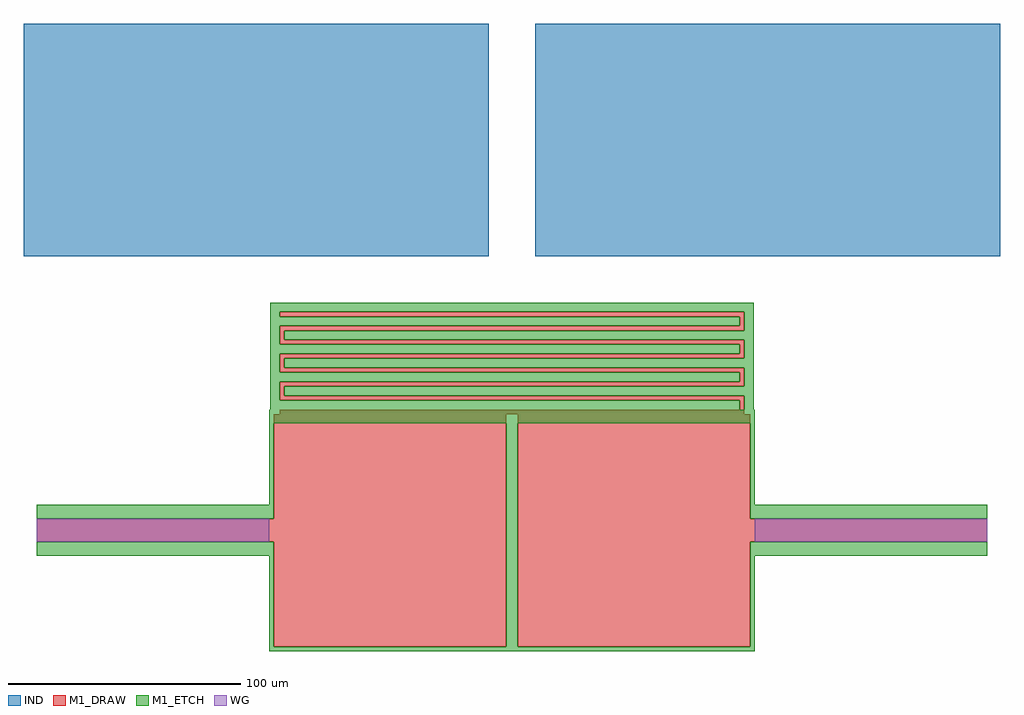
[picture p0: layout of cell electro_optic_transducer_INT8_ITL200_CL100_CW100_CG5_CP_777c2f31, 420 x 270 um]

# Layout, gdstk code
from math import pi, radians
import gdstk
lib = gdstk.Library(unit=1e-6, precision=1e-09)
def R(c, l, rs):  # rectangles x0, y0, x1, y1
    for r in rs: c.add(gdstk.rectangle(r[:2], r[2:], *l))
def P(c, l, *ps):  # polygons
    for p in ps: c.add(gdstk.Polygon(p, *l))
M1_DRAW = (1, 0)
M1_ETCH = (1, 1)
IND = (30, 0)
WG = (102, 0)

plate_capacitor_single_l = lib.new_cell('plate_capacitor_single_L100_W100_LMM1_DRAW_ELM1_ETCH_EBM2_CScpw')
P(plate_capacitor_single_l, M1_DRAW, [(-50,-50),(-50,-5),(-52,-5),(-52,5),(-50,5),(-50,50),(50,50),(50,-50)])
P(plate_capacitor_single_l, M1_ETCH, [(-52,-52),(-52,-5),(-50,-5),(-50,-50),(50,-50),(50,50),(-50,50),(-50,5),(-52,5),(-52,52),(52,52),(52,-52)])

plate_capacitor_l100_w10 = lib.new_cell('plate_capacitor_L100_W100_G5_ELM1_ETCH_EBM2_CScpw')
R(plate_capacitor_l100_w10, M1_ETCH, [(-0.5,-52,0.5,52)])
plate_capacitor_l100_w10.add(gdstk.Reference(plate_capacitor_single_l, (-52.5,0)))
plate_capacitor_l100_w10.add(gdstk.Reference(plate_capacitor_single_l, (52.5,0), rotation=pi))

meander_inductor_nt8_tl2 = lib.new_cell('meander_inductor_NT8_TL200_CSmeander_inductor_cross_sec_60818f59')
P(meander_inductor_nt8_tl2, M1_DRAW, [(-100,-22),(-100,-20),(98,-20),(98,-16),(-100,-16),(-100,-8),(98,-8),(98,-4),(-100,-4),(-100,4),(98,4),(98,8),(-100,8),(-100,16),(98,16),(98,20),(-100,20),(-100,22),(100,22),(100,14),(-98,14),(-98,10),(100,10),(100,2),(-98,2),(-98,-2),(100,-2),(100,-10),(-98,-10),(-98,-14),(100,-14),(100,-22)])
P(meander_inductor_nt8_tl2, M1_ETCH, [(-104,-26),(-104,22),(-100,22),(-100,20),(98,20),(98,16),(-100,16),(-100,8),(98,8),(98,4),(-100,4),(-100,-4),(98,-4),(98,-8),(-100,-8),(-100,-16),(98,-16),(98,-20),(-100,-20),(-100,-22),(100,-22),(100,-14),(-98,-14),(-98,-10),(100,-10),(100,-2),(-98,-2),(-98,2),(100,2),(100,10),(-98,10),(-98,14),(100,14),(100,22),(-104,22),(-104,26),(104,26),(104,-26)])

rectangle_gdsfactorypcom = lib.new_cell('rectangle_gdsfactorypcomponentspshapesprectangle_S200_1_ea2de990')
R(rectangle_gdsfactorypcom, IND, [(0,0,200,100)])

straight_l100_cscpw_n2 = lib.new_cell('straight_L100_CScpw_N2')
R(straight_l100_cscpw_n2, M1_DRAW, [(0,-5,100,5)])
R(straight_l100_cscpw_n2, M1_ETCH, [(0,-11,100,-5), (0,5,100,11)])
R(straight_l100_cscpw_n2, WG, [(0,-5,100,5)])

electro_optic_transducer = lib.new_cell('electro_optic_transducer_INT8_ITL200_CL100_CW100_CG5_CP_777c2f31')
electro_optic_transducer.add(gdstk.Reference(plate_capacitor_l100_w10, (0,0)))
electro_optic_transducer.add(gdstk.Reference(meander_inductor_nt8_tl2, (0,72)))
electro_optic_transducer.add(gdstk.Reference(rectangle_gdsfactorypcom, (-210,118)))
electro_optic_transducer.add(gdstk.Reference(rectangle_gdsfactorypcom, (10,118)))
electro_optic_transducer.add(gdstk.Reference(straight_l100_cscpw_n2, (-204.5,0)))
electro_optic_transducer.add(gdstk.Reference(straight_l100_cscpw_n2, (204.5,0), rotation=pi))

lib.write_gds('electro_optic_transducer_INT8_ITL200_CL100_CW100_CG5_CP_777c2f31.gds')
